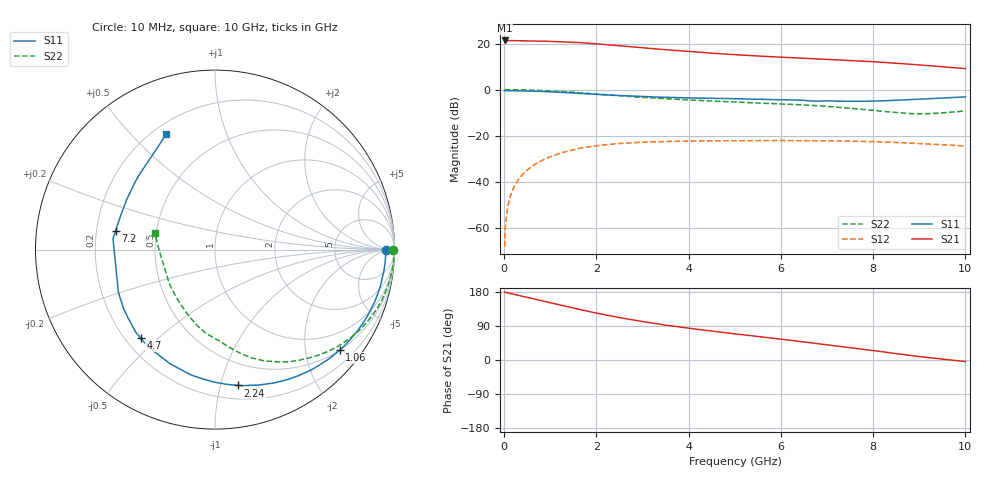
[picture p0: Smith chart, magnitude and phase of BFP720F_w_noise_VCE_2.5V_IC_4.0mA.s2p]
! Infineon Technologies  Discrete & RF Semiconductors
! BFP720F
! VCE =  2.5 V,  IC =  4.0 mA
! Common Emitter S-Parameters:  Jan 2016
# GHz  S  MA  R  50
!  f  S11  S21  S12  S22
! GHz  MAG  ANG  MAG  ANG  MAG  ANG  MAG  ANG
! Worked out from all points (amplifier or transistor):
!   233 points, 10 MHz to 10 GHz, reference 50 ohm
!   highest |S21| = 21.4 dB at 10 MHz (marker M1)
!   |S21| within 3 dB of that: start of sweep to 2.901 GHz
!   unconditionally stable (mu >= 1): 8.263 GHz to end of sweep
!   at 200 MHz: K = 0.02, MSG = 32.1 dB, |S12| = -42.9 dB
!   at 1.74 GHz: K = 0.18, MSG = 22.7 dB, |S12| = -25.1 dB
!   at 10 GHz: K = 1.24, MAG = 13.8 dB, |S12| = -24.4 dB
!   lowest NFmin = 0.41 dB at 450 MHz
!   S11 on the Smith chart (normalised r, x): 10 MHz: 39, +0; 1.06 GHz: 0.50, -2.76; 2.24 GHz: 0.31, -1.14; 4.7 GHz: 0.26, -0.44; 7.2 GHz: 0.28, +0.09; 10 GHz: 0.25, +0.63
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0.01  0.9502 0.0  11.7 179.5  0.0004 -34.3  0.9916 0.0
0.015  0.9512 -0.4  11.6 178.7  0.0004 66.7  0.9958 -0.6
0.02  0.9523 -0.7  11.5 177.8  0.0009 92.6  1 -1.1
0.05  0.9518 -1.9  11.62 178.1  0.0018 89.4  0.9975 -1.3
0.085  0.9511 -3.1  11.62 177.1  0.0031 87.3  0.9978 -2.1
0.26  0.9458 -9.4  11.56 171.9  0.0094 84.0  0.9941 -6.4
0.8  0.9153 -29.2  11.35 156.9  0.0284 70.9  0.9612 -19.9
1.06  0.8926 -38.8  11.11 149.5  0.0369 64.4  0.9342 -26.4
1.3  0.8685 -47.6  10.86 142.8  0.0441 58.6  0.9049 -32.3
1.68  0.8254 -61.9  10.45 132.3  0.0539 49.7  0.8505 -41.4
2  0.7907 -72.7  9.916 123.8  0.0606 42.6  0.8039 -48.4
2.24  0.7676 -80.4  9.468 118.0  0.0645 37.6  0.7701 -53.4
2.78  0.7235 -95.5  8.484 105.8  0.0705 28.0  0.7017 -62.6
3.4  0.6868 -109.3  7.515 94.0  0.0745 19.2  0.6432 -70.4
4  0.6623 -120.2  6.729 83.7  0.0766 12.2  0.5972 -76.0
4.7  0.6437 -130.1  6.008 73.4  0.0779 5.6  0.5556 -80.9
5.1  0.633 -135.4  5.677 67.7  0.0784 2.1  0.5335 -83.8
6.8  0.5593 -173.9  4.647 43.2  0.0779 -11.3  0.4467 -100.5
7.2  0.5639 169.4  4.436 37.2  0.077 -14.4  0.4179 -106.6
8.4  0.5829 139.7  3.821 18.4  0.0722 -23.4  0.3259 -137.7
9  0.6203 126.2  3.45 9.0  0.0675 -27.1  0.2984 -163.6
10  0.6977 113.1  2.865 -4.1  0.06 -29.9  0.346 164.8
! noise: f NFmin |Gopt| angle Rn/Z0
0.45  0.41  0.54  3  0.21
0.9  0.44  0.54  10  0.19
1.8  0.49  0.5  21  0.17
2.4  0.53  0.48  29  0.15
5.5  0.73  0.4  74  0.1
10  1.03  0.26  -115  0.14
